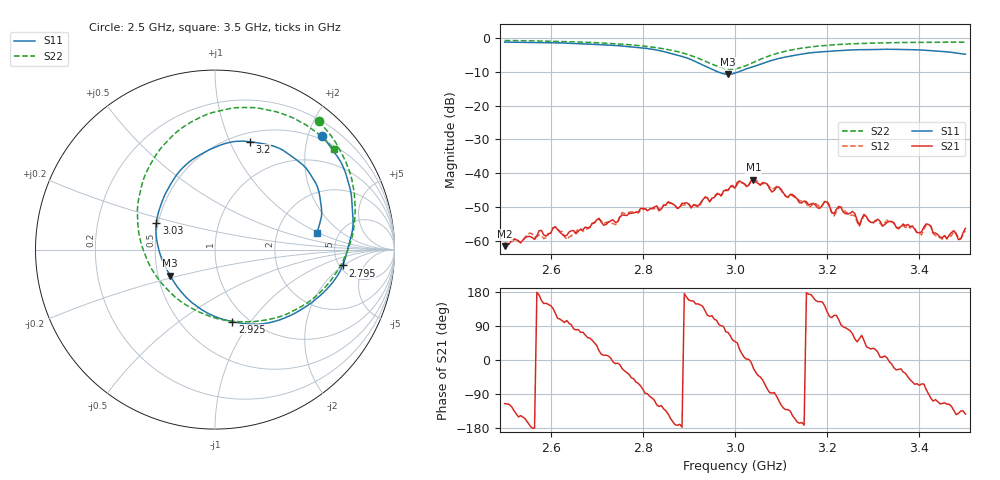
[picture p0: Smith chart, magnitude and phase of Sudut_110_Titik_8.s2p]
# Hz S RI R 50
! CMT, C1220, 16058040, 17.2.0/1
! Date: 15/08/2018 09:55:19
! Data: Format (Calibration Info)
! Freq  S11: Re/Im (F2)  S21: Re/Im (F2)  S12: Re/Im (F2)  S22: Re/Im (F2)
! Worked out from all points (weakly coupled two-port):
!   201 points, 2.5 GHz to 3.5 GHz, reference 50 ohm
!   highest |S21| = -41.92 dB at 3.04 GHz (marker M1); lowest = -61.6 dB at 2.5 GHz (marker M2)
!   lowest |S11| = -10.8 dB at 2.985 GHz (marker M3), VSWR 1.81, Z = 28.9 - j9.21 ohm
!   |S11| at or under -10 dB: 2.962 GHz to 3.008 GHz (45.95 MHz wide, 1.54 % of centre)
!   |S22| runs from -9.2 to -0.7 dB; largest |S21 - S12| = 0.00062
!   S11 on the Smith chart (normalised r, x): 2.5 GHz: 0.44, +2.25; 2.795 GHz: 5.33, -1.94; 2.925 GHz: 0.85, -0.82; 3.03 GHz: 0.49, +0.17; 3.2 GHz: 0.59, +1.19; 3.5 GHz: 3.40, +0.96
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2.5e9  0.5967 0.6317  -0.000355 -0.000757  -0.000375 -0.000879  0.5777 0.7138
2.61e9  0.7149 0.4585  -0.000888 0.00134  -0.000894 0.00135  0.6945 0.5567
2.635e9  0.7355 0.4003  -0.000297 0.00118  -0.000147 0.00104  0.7177 0.5122
2.67e9  0.7575 0.3168  0.00042 0.0014  0.000494 0.00128  0.7483 0.4391
2.795e9  0.7113 -0.0882  0.00112 -0.00279  0.00101 -0.0026  0.7644 0.0743
2.835e9  0.6082 -0.2354  -0.00158 -0.00245  -0.00145 -0.00236  0.7044 -0.0798
2.925e9  0.0964 -0.4011  -0.00297 0.00207  -0.00292 0.00185  0.2887 -0.3911
2.985e9  -0.2496 -0.1458  0.00169 0.00539  0.00141 0.00538  -0.1801 -0.297
3e9  -0.299 -0.0458  0.00398 0.00452  0.00414 0.00433  -0.2791 -0.2078
3.03e9  -0.3271 0.1488  0.00669 0.000204  0.00663 0.000323  -0.4059 0.0156
3.04e9  -0.3148 0.2087  0.00744 -0.00298  0.00775 -0.00284  -0.4253 0.0977
3.17e9  0.0998 0.6009  -0.00348 0.000958  -0.00357 0.000672  -0.0719 0.7412
3.2e9  0.1939 0.6009  -0.00224 0.00296  -0.00217 0.00313  0.0397 0.7763
3.215e9  0.2403 0.5946  -0.00118 0.00223  -0.000915 0.00216  0.0924 0.7876
3.23e9  0.2842 0.5866  -0.000145 0.00314  -0.000282 0.00315  0.142 0.7916
3.27e9  0.38 0.5526  0.000949 0.00142  0.00089 0.00138  0.2614 0.7848
3.28e9  0.401 0.5382  0.00154 0.00192  0.00148 0.00188  0.288 0.7795
3.335e9  0.5067 0.4546  0.00194 -0.000151  0.00194 -0.000224  0.415 0.742
3.405e9  0.5785 0.3245  0.000614 -0.00122  0.000501 -0.00113  0.5401 0.6708
3.42e9  0.5853 0.2864  2.52e-05 -0.00175  0.000102 -0.0017  0.5634 0.6549
3.46e9  0.5938 0.1901  -0.000481 -0.000961  -0.000489 -0.000958  0.6172 0.609
3.5e9  0.5661 0.0945  -0.00122 -0.000928  -0.00118 -0.000781  0.663 0.5593
